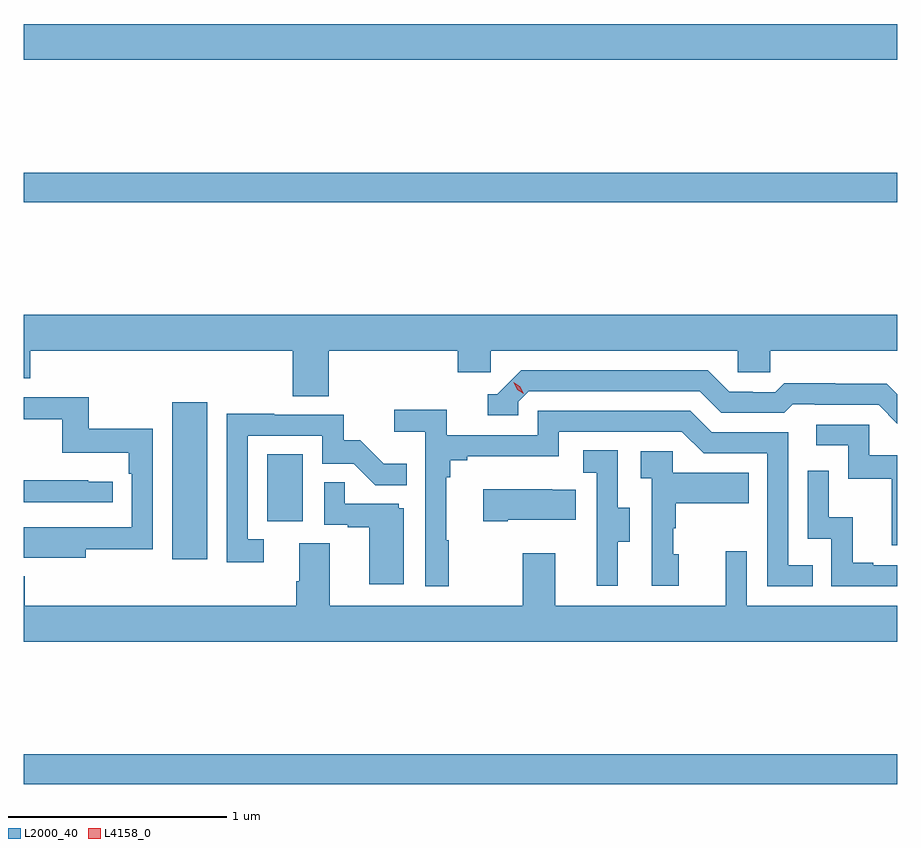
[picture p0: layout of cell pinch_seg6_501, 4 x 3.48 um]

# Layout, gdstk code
import gdstk
lib = gdstk.Library(unit=1e-6, precision=1e-09)
def R(c, l, rs):  # rectangles x0, y0, x1, y1
    for r in rs: c.add(gdstk.rectangle(r[:2], r[2:], *l))
def P(c, l, *ps):  # polygons
    for p in ps: c.add(gdstk.Polygon(p, *l))
L2000_40 = (2000, 40)
L4158_0 = (4158, 0)

pinch_seg6_501 = lib.new_cell('pinch_seg6_501')
R(pinch_seg6_501, L2000_40, [(853.738,930.7,857.738,930.836), (854.417,931.728,854.578,932.449), (854.852,931.902,855.016,932.209), (853.738,933.364,857.738,933.5), (853.738,934.016,857.738,934.18)])
P(pinch_seg6_501, L2000_40, [(855.134,932.684),(855.725,932.684),(855.725,932.586),(855.876,932.586),(855.876,932.684),(857.007,932.684),(857.007,932.586),(857.157,932.586),(857.157,932.684),(857.738,932.684),(857.738,932.848),(853.738,932.848),(853.738,932.557),(853.769,932.557),(853.769,932.684),(854.969,932.684),(854.969,932.476),(855.134,932.476)],
  [(857.738,932.485),(857.69,932.533),(857.454,932.533),(857.454,932.536),(857.221,932.536),(857.179,932.493),(857.076,932.493),(857.076,932.496),(856.969,932.496),(856.87,932.595),(856.017,932.595),(855.906,932.484),(855.863,932.484),(855.863,932.388),(856.002,932.388),(856.002,932.451),(856.05,932.499),(856.833,932.499),(856.932,932.4),(857.221,932.4),(857.26,932.439),(857.359,932.439),(857.359,932.436),(857.652,932.436),(857.738,932.35)],
  [(854.023,931.774),(854.328,931.774),(854.328,932.326),(854.035,932.326),(854.035,932.472),(853.738,932.472),(853.738,932.371),(853.914,932.371),(853.914,932.216),(854.219,932.216),(854.219,932.12),(854.232,932.12),(854.232,931.875),(853.919,931.875),(853.919,931.876),(853.738,931.876),(853.738,931.736),(854.023,931.736)],
  [(855.685,931.817),(855.673,931.817),(855.673,932.105),(855.692,932.105),(855.692,932.182),(855.769,932.182),(855.769,932.201),(856.188,932.201),(856.188,932.313),(856.752,932.313),(856.851,932.214),(857.142,932.214),(857.142,931.605),(857.351,931.605),(857.351,931.701),(857.238,931.701),(857.238,932.31),(856.888,932.31),(856.789,932.409),(856.092,932.409),(856.092,932.298),(855.674,932.298),(855.674,932.414),(855.435,932.414),(855.435,932.312),(855.576,932.312),(855.576,931.605),(855.685,931.605)],
  [(854.836,931.821),(854.763,931.821),(854.763,932.295),(855.105,932.295),(855.105,932.166),(855.249,932.166),(855.347,932.068),(855.491,932.068),(855.491,932.167),(855.387,932.167),(855.28,932.274),(855.204,932.274),(855.204,932.391),(854.885,932.391),(854.885,932.396),(854.667,932.396),(854.667,931.716),(854.836,931.716)],
  [(857.738,932.205),(857.61,932.205),(857.61,932.346),(857.367,932.346),(857.367,932.25),(857.514,932.25),(857.514,932.097),(857.713,932.097),(857.713,931.794),(857.738,931.794)],
  [(856.459,931.81),(856.513,931.81),(856.513,931.965),(856.458,931.965),(856.458,932.228),(856.299,932.228),(856.299,932.125),(856.362,932.125),(856.362,931.821),(856.361,931.821),(856.361,931.608),(856.459,931.608)],
  [(856.738,931.752),(856.713,931.752),(856.713,931.871),(856.723,931.871),(856.723,931.985),(857.057,931.985),(857.057,932.125),(856.71,932.125),(856.71,932.223),(856.563,932.223),(856.563,932.099),(856.614,932.099),(856.614,931.608),(856.738,931.608)],
  [(857.738,931.701),(857.629,931.701),(857.629,931.714),(857.534,931.714),(857.534,931.922),(857.424,931.922),(857.424,932.134),(857.328,932.134),(857.328,931.824),(857.436,931.824),(857.436,931.605),(857.738,931.605)],
  [(854.146,932.085),(854.033,932.085),(854.033,932.09),(853.738,932.09),(853.738,931.989),(854.146,931.989)],
  [(855.478,931.962),(855.456,931.962),(855.456,931.983),(855.209,931.983),(855.209,932.081),(855.114,932.081),(855.114,931.887),(855.221,931.887),(855.221,931.875),(855.32,931.875),(855.32,931.614),(855.478,931.614)],
  [(855.955,931.91),(856.265,931.91),(856.265,932.047),(856.157,932.047),(856.157,932.05),(855.843,932.05),(855.843,931.903),(855.955,931.903)],
  [(857.738,931.516),(857.049,931.516),(857.049,931.765),(856.952,931.765),(856.952,931.516),(856.171,931.516),(856.171,931.756),(856.024,931.756),(856.024,931.516),(855.139,931.516),(855.139,931.802),(854.999,931.802),(854.999,931.628),(854.987,931.628),(854.987,931.516),(853.742,931.516),(853.742,931.651),(853.738,931.651),(853.738,931.352),(857.738,931.352)])
P(pinch_seg6_501, L4158_0, [(856.028,932.487),(855.997,932.506),(855.981,932.539),(855.981,932.539),(855.981,932.539),(856.012,932.52),(856.028,932.487),(856.028,932.487)])

lib.write_gds('pinch_seg6_501.gds')
